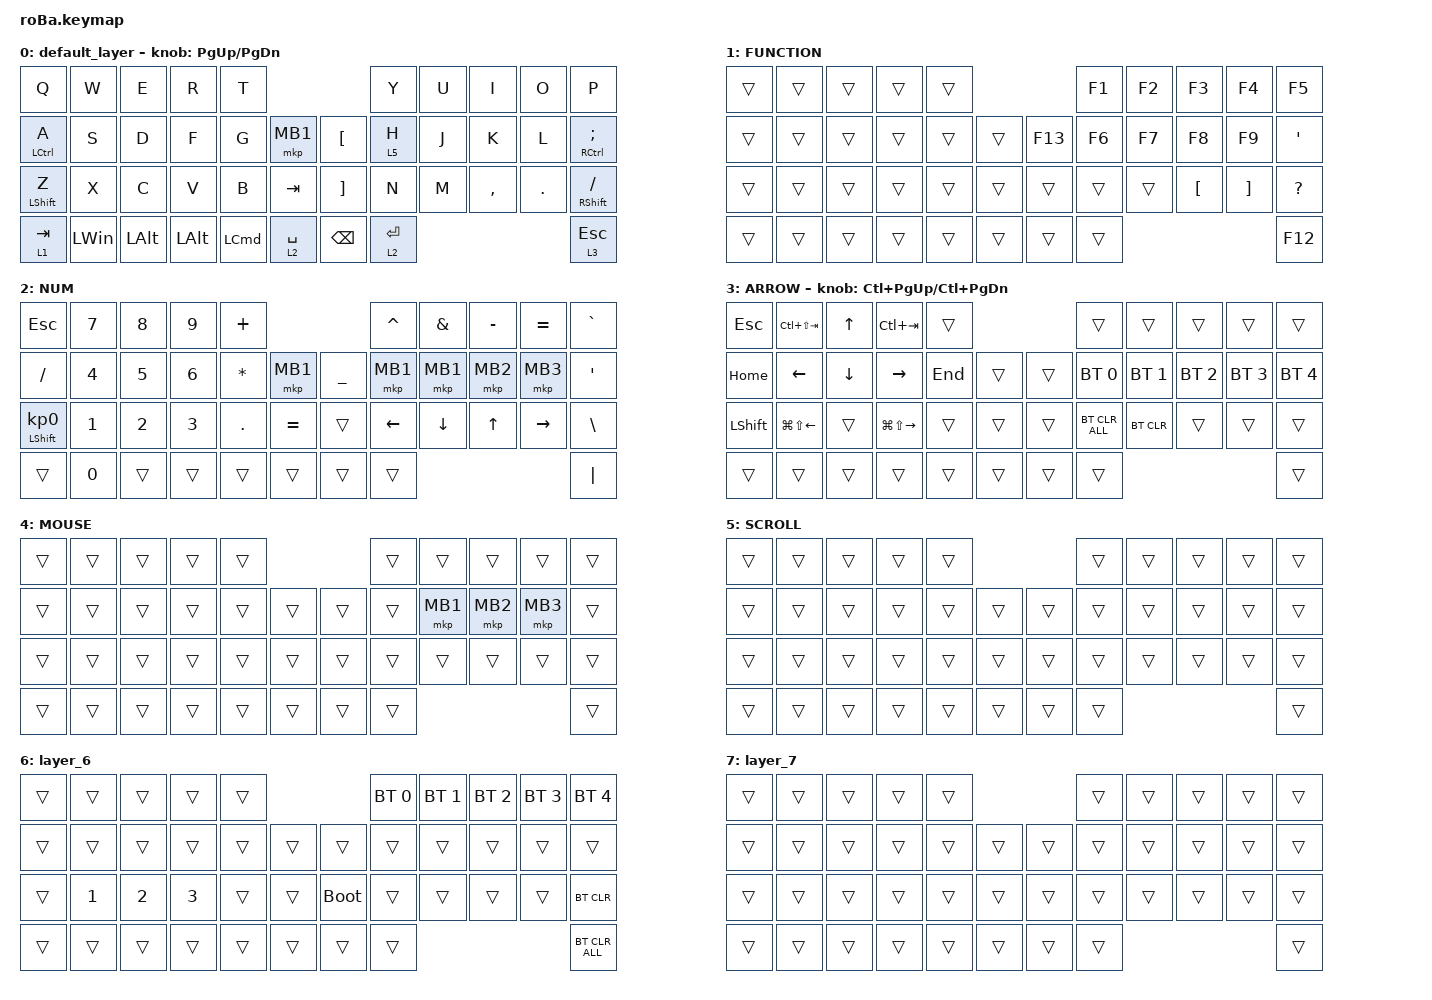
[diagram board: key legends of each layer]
#include <behaviors.dtsi>
#include <dt-bindings/zmk/bt.h>
#include <dt-bindings/zmk/keys.h>
#include <dt-bindings/zmk/pointing.h>

&mt {
    flavor = "balanced";
    quick-tap-ms = <0>;
};

&trackball {
    automouse-layer = <4>;
    scroll-layers = <5>;

    // arrows {
    //     layers = <3>;
    //     bindings =
    //         <&kp RIGHT_ARROW>,
    //         <&kp LEFT_ARROW>,
    //         <&kp UP_ARROW>,
    //         <&kp DOWN_ARROW>;
    //     tick = <10>;
    //     wait-ms = <5>;
    //     tap-ms = <5>;
    // };
};

/ {
    combos {
        compatible = "zmk,combos";

        tab {
            bindings = <&kp TAB>;
            key-positions = <11 12>;
        };

        shift_tab {
            bindings = <&kp LS(TAB)>;
            key-positions = <12 13>;
        };

        muhennkann {
            bindings = <&to_layer_0 INT_MUHENKAN>;
            key-positions = <11 10>;
        };

        double_quotation {
            bindings = <&kp DOUBLE_QUOTES>;
            key-positions = <20 21>;
        };

        eq {
            bindings = <&kp EQUAL>;
            key-positions = <24 25>;
        };
    };

    macros {
        to_layer_0: to_layer_0 {
            compatible = "zmk,behavior-macro-one-param";
            #binding-cells = <1>;
            bindings = <&to 0 &macro_param_1to1 &kp MACRO_PLACEHOLDER>;
            label = "TO_LAYER_0";
        };
    };

    behaviors {
        lt_to_layer_0: lt_to_layer_0 {
            compatible = "zmk,behavior-hold-tap";
            label = "LAYER_TAP_TO_0";
            bindings = <&mo>, <&to_layer_0>;

            #binding-cells = <2>;
            tapping-term-ms = <200>;
        };
    };

    keymap {
        compatible = "zmk,keymap";

        default_layer {
            bindings = <
&kp Q               &kp W         &kp E         &kp R         &kp T                                                 &kp Y        &kp U  &kp I      &kp O    &kp P
&mt LEFT_CONTROL A  &kp S         &kp D         &kp F         &kp G             &mkp MB1         &kp LEFT_BRACKET   &lt 5 H      &kp J  &kp K      &kp L    &mt RIGHT_CONTROL SEMICOLON
&mt LEFT_SHIFT Z    &kp X         &kp C         &kp V         &kp B             &kp TAB          &kp RIGHT_BRACKET  &kp N        &kp M  &kp COMMA  &kp DOT  &mt RIGHT_SHIFT SLASH
&lt 1 TAB           &kp LEFT_WIN  &kp LEFT_ALT  &kp LEFT_ALT  &kp LEFT_COMMAND  &lt 2 SPACE      &kp BACKSPACE      &lt 2 ENTER                             &lt 3 ESC
            >;

            sensor-bindings = <&inc_dec_kp PAGE_UP PAGE_DOWN>;
        };

        FUNCTION {
            bindings = <
&trans  &trans  &trans  &trans  &trans                       &kp F1  &kp F2  &kp F3    &kp F4    &kp F5
&trans  &trans  &trans  &trans  &trans  &trans      &kp F13  &kp F6  &kp F7  &kp F8    &kp F9    &kp SQT
&trans  &trans  &trans  &trans  &trans  &trans      &trans   &trans  &trans  &kp LBKT  &kp RBKT  &kp QMARK
&trans  &trans  &trans  &trans  &trans  &trans      &trans   &trans                              &kp F12
            >;
        };

        NUM {
            bindings = <
&kp ESC                     &kp N7        &kp N8        &kp N9        &kp PLUS                                     &kp CARET       &kp AMPERSAND   &kp MINUS     &kp EQUAL  &kp GRAVE
&kp SLASH                   &kp NUMBER_4  &kp N5        &kp NUMBER_6  &kp ASTERISK  &mkp MB1       &kp UNDERSCORE  &mkp MB1        &mkp MB1        &mkp MB2      &mkp MB3   &kp SINGLE_QUOTE
&mt LEFT_SHIFT KP_NUMBER_0  &kp NUMBER_1  &kp NUMBER_2  &kp NUMBER_3  &kp PERIOD    &kp EQUAL      &trans          &kp LEFT_ARROW  &kp DOWN_ARROW  &kp UP_ARROW  &kp RIGHT  &kp BACKSLASH
&trans                      &kp NUMBER_0  &trans        &trans        &trans        &trans         &trans          &trans                                                   &kp PIPE
            >;
        };

        ARROW {
            bindings = <
&kp ESCAPE      &kp LC(LS(TAB))         &kp UP_ARROW    &kp LC(TAB)              &trans                       &trans          &trans        &trans        &trans        &trans
&kp HOME        &kp LEFT_ARROW          &kp DOWN_ARROW  &kp RIGHT_ARROW          &kp END  &trans      &trans  &bt BT_SEL 0    &bt BT_SEL 1  &bt BT_SEL 2  &bt BT_SEL 3  &bt BT_SEL 4
&kp LEFT_SHIFT  &kp LG(LS(LEFT_ARROW))  &trans          &kp LG(LS(RIGHT_ARROW))  &trans   &trans      &trans  &bt BT_CLR_ALL  &bt BT_CLR    &trans        &trans        &trans
&trans          &trans                  &trans          &trans                   &trans   &trans      &trans  &trans                                                    &trans
            >;

            sensor-bindings = <&inc_dec_kp LC(PAGE_UP) LC(PAGE_DOWN)>;
        };

        MOUSE {
            bindings = <
&trans  &trans  &trans  &trans  &trans                      &trans  &trans    &trans    &trans    &trans
&trans  &trans  &trans  &trans  &trans  &trans      &trans  &trans  &mkp MB1  &mkp MB2  &mkp MB3  &trans
&trans  &trans  &trans  &trans  &trans  &trans      &trans  &trans  &trans    &trans    &trans    &trans
&trans  &trans  &trans  &trans  &trans  &trans      &trans  &trans                                &trans
            >;
        };

        SCROLL {
            bindings = <
&trans  &trans  &trans  &trans  &trans                      &trans  &trans  &trans  &trans  &trans
&trans  &trans  &trans  &trans  &trans  &trans      &trans  &trans  &trans  &trans  &trans  &trans
&trans  &trans  &trans  &trans  &trans  &trans      &trans  &trans  &trans  &trans  &trans  &trans
&trans  &trans  &trans  &trans  &trans  &trans      &trans  &trans                          &trans
            >;
        };

        layer_6 {
            bindings = <
&trans  &trans        &trans        &trans        &trans                           &bt BT_SEL 0  &bt BT_SEL 1  &bt BT_SEL 2  &bt BT_SEL 3  &bt BT_SEL 4
&trans  &trans        &trans        &trans        &trans  &trans      &trans       &trans        &trans        &trans        &trans        &trans
&trans  &kp NUMBER_1  &kp NUMBER_2  &kp NUMBER_3  &trans  &trans      &bootloader  &trans        &trans        &trans        &trans        &bt BT_CLR
&trans  &trans        &trans        &trans        &trans  &trans      &trans       &trans                                                  &bt BT_CLR_ALL
            >;
        };

        layer_7 {
            bindings = <
&trans  &trans  &trans  &trans  &trans                      &trans  &trans  &trans  &trans  &trans
&trans  &trans  &trans  &trans  &trans  &trans      &trans  &trans  &trans  &trans  &trans  &trans
&trans  &trans  &trans  &trans  &trans  &trans      &trans  &trans  &trans  &trans  &trans  &trans
&trans  &trans  &trans  &trans  &trans  &trans      &trans  &trans                          &trans
            >;
        };
    };
};
